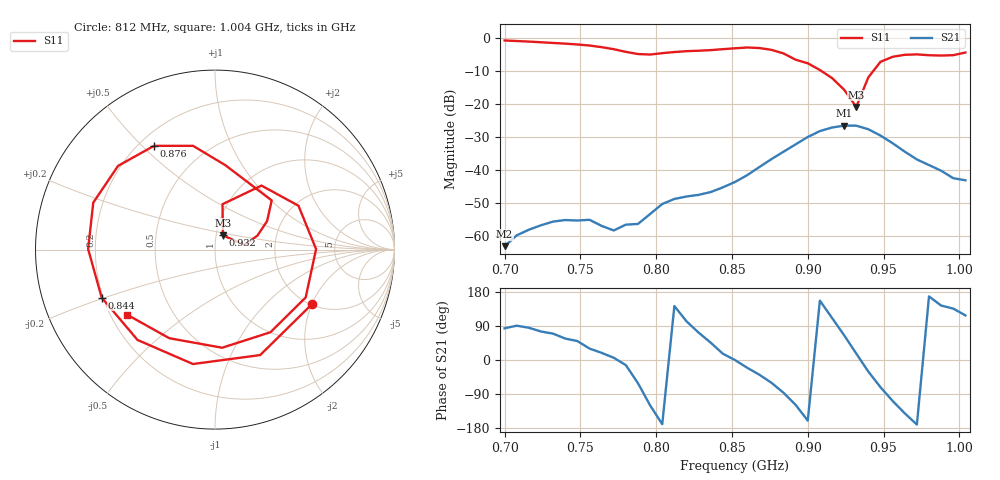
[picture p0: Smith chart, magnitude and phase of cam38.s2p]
# Hz S RI R 50
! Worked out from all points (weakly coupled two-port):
!   39 points, 700 MHz to 1.004 GHz, reference 50 ohm
!   highest |S21| = -26.54 dB at 924 MHz (marker M1); lowest = -63.2 dB at 700 MHz (marker M2)
!   lowest |S11| = -20.8 dB at 932 MHz (marker M3), VSWR 1.20, Z = 53.9 + j8.64 ohm
!   |S11| at or under -10 dB: 909.3 MHz to 943.1 MHz (33.85 MHz wide, 3.65 % of centre)
!   S12 and S22 are empty: the file has one direction only
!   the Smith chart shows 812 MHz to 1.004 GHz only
!   S11 on the Smith chart (normalised r, x): 812 MHz: 2.03, -2.00; 844 MHz: 0.19, -0.20; 876 MHz: 0.26, +0.54; 932 MHz: 1.08, +0.17; 1.004 GHz: 0.27, -0.31
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7e8  0.7647 0.5297  7.72e-05 0.000688  0 0  0 0
7.24e8  0.8334 -0.2615  0.000367 0.00139  0 0  0 0
7.4e8  0.4471 -0.7025  0.000952 0.00144  0 0  0 0
7.56e8  -0.1958 -0.7541  0.00151 0.000877  0 0  0 0
7.72e8  -0.6584 -0.1893  0.00119 0.000125  0 0  0 0
7.8e8  -0.5789 0.2317  0.00143 -0.000346  0 0  0 0
7.88e8  -0.2251 0.5328  0.000725 -0.00132  0 0  0 0
7.96e8  0.2622 0.5036  -0.00106 -0.00185  0 0  0 0
8.04e8  0.5782 0.1453  -0.00298 -0.000557  0 0  0 0
8.12e8  0.5409 -0.3033  -0.00287 0.00221  0 0  0 0
8.28e8  -0.1228 -0.6375  0.00128 0.00398  0 0  0 0
8.44e8  -0.6315 -0.267  0.00521 0.00155  0 0  0 0
8.52e8  -0.7068 0.00307  0.00656 -1.43e-05  0 0  0 0
8.76e8  -0.3394 0.5781  0.0073 -0.0126  0 0  0 0
9e8  0.3159 0.2742  -0.0298 -0.0109  0 0  0 0
9.08e8  0.2901 0.1581  -0.0358 0.0154  0 0  0 0
9.24e8  0.164 0.0254  0.0197 0.0428  0 0  0 0
9.32e8  0.044 0.0795  0.045 0.0139  0 0  0 0
9.4e8  0.0419 0.253  0.0357 -0.0212  0 0  0 0
9.56e8  0.4651 0.2444  -0.00789 -0.0242  0 0  0 0
9.8e8  0.3089 -0.4604  -0.0116 0.00248  0 0  0 0
1.004e9  -0.4903 -0.3624  -0.00324 0.00615  0 0  0 0
